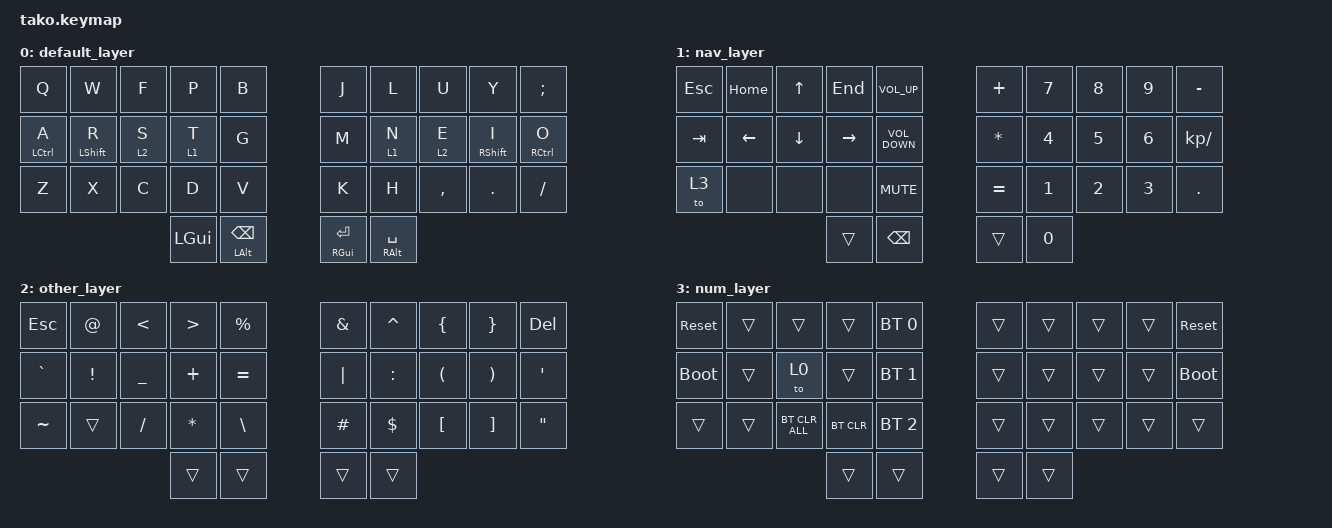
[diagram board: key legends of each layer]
/*
 * Copyright (c) 2020 The ZMK Contributors
 *
 * SPDX-License-Identifier: MIT
 */

#include <behaviors.dtsi>
#include <dt-bindings/zmk/bt.h>
#include <dt-bindings/zmk/keys.h>

// Using layer taps on thumbs, having quick tap as well helps w/ repeating space/backspace

&lt { quick_tap_ms = <200>; };

&mt {
   flavor = "tap-preferred";
   tapping_term_ms = <200>;
};

/ {
    behaviors {
        hm: homerow_mods {
            compatible = "zmk,behavior-hold-tap";
            label = "homerow mods";
            #binding-cells = <2>;
            flavor = "tap-preferred";
            tapping-term-ms = <180>;
            quick-tap-ms = <150>;
            global-quick-tap;
            bindings = <&kp>, <&kp>;
        };
    };

    // combos
    combos {
      compatible = "zmk,combos";
      // right hand
      combo_esc {
          timeout-ms = <50>;
          key-positions = <16 17>;
          bindings = <&kp ESC>;
      };

      combo_lgui {
          timeout-ms = <50>;
          key-positions = <5 6>;
          bindings = <&kp LGUI>;
      };

      combo_fullscreen {
          timeout-ms = <50>;
          key-positions = <25 26>;
          bindings = <&kp F11>;
      };

      combo_wkspc_up {
          timeout-ms = <50>;
          key-positions = <9 19>;
          bindings = <&kp LC(UP)>;
      };

      combo_wkspc_down {
          timeout-ms = <50>;
          key-positions = <19 29>;
          bindings = <&kp LC(DOWN)>;
      };

      combo_win_up {
          timeout-ms = <50>;
          key-positions = <7 8>;
          bindings = <&kp LS(LG(UP))>;
      };

      combo_win_down {
          timeout-ms = <50>;
          key-positions = <27 28>;
          bindings = <&kp LS(LG(DOWN))>;
      };

      combo_win_left {
          timeout-ms = <50>;
          key-positions = <17 18>;
          bindings = <&kp LS(LG(LEFT))>;
      };

      combo_win_right {
          timeout-ms = <50>;
          key-positions = <9 18>;
          bindings = <&kp LS(LG(RIGHT))>;
      };

      combo_rdelete {
          timeout-ms = <50>;
          key-positions = <15 16>;
          bindings = <&kp DELETE>;
      };

      // left hand
      combo_zoomin {
          timeout-ms = <50>;
          key-positions = <3 4>;
          bindings = <&kp LC(PLUS)>;
      };

      combo_zoomout {
          timeout-ms = <50>;
          key-positions = <23 24>;
          bindings = <&kp LC(MINUS)>;
      };

      combo_pgdn {
          timeout-ms = <50>;
          key-positions = <22 23>;
          bindings = <&kp PG_DN>;
      };

      combo_pgup {
          timeout-ms = <50>;
          key-positions = <2 3>;
          bindings = <&kp PG_UP>;
      };

      combo_ldelete {
          timeout-ms = <50>;
          key-positions = <13 14>;
          bindings = <&kp DELETE>;
      };

      // symbols
      combo_underscore {
          timeout-ms = <50>;
          key-positions = <11 12>;
          bindings = <&kp UNDERSCORE>;
      };

      combo_minus {
          timeout-ms = <50>;
          key-positions = <12 13>;
          bindings = <&kp MINUS>;
      };

      // others
      combo_capswd {
          timeout-ms = <50>;
          key-positions = <2 7>;
          bindings = <&caps_word>;
      };

    };

    // conditional_layers {
    //     compatible = "zmk,conditional-layers";
    //     tri_layer {
    //         if-layers = <1 2>;
    //         then-layer = <3>;
    //     };
    // };

    keymap {
        compatible = "zmk,keymap";

        default_layer {
            bindings = <
        //╭──────────┬──────────┬──────────┬──────────┬──────────╮   ╭──────────┬──────────┬──────────┬──────────┬──────────╮
        //│  Q       │  W       │  F       │  P       │  B       │   │  J       │  L       │  U       │  Y       │  ;       │
            &kp Q      &kp W      &kp F      &kp P      &kp B          &kp J      &kp L      &kp U      &kp Y      &kp SEMI
        //├──────────┼──────────┼──────────┼──────────┼──────────┤   ├──────────┼──────────┼──────────┼──────────┼──────────┤
        //│  A       │  R       │  S       │  T       │  G       │   │  M       │  N       │  E       │  I       │  O       │
            &hm LCTRL A &hm LSHFT R &lt 2 S  &lt 1 T    &kp G          &kp M      &lt 1 N    &lt 2 E  &hm RSHFT I &hm RCTRL O
        //├──────────┼──────────┼──────────┼──────────┼──────────┤   ├──────────┼──────────┼──────────┼──────────┼──────────┤
        //│  Z       │  X       │  C       │  D       │  V       │   │  K       │  H       │ , <      │ . >      │ / ?      │
            &kp Z      &kp X      &kp C      &kp D      &kp V          &kp K      &kp H      &kp COMMA  &kp DOT    &kp FSLH
        //╰──────────┴──────────┴──────────┼──────────┼──────────┤   ├──────────┼──────────┼──────────┴──────────┴──────────╯
                                            &kp LGUI   &mt LALT BSPC   &mt RGUI RET  &mt RALT SPACE
        //                                 ╰──────────┴──────────╯   ╰──────────┴──────────╯
            >;
        };

        nav_layer {
            bindings = <
        //╭──────────┬──────────┬──────────┬──────────┬──────────╮   ╭──────────┬──────────┬──────────┬──────────┬──────────╮
        //│ ESC      │ HOME     │  UP      │  END     │ V UP     │   │  +       │  7       │  8       │  9       │  -       │
            &kp ESC    &kp HOME    &kp UP     &kp END   &kp C_VOLUME_UP   &kp PLUS   &kp N7     &kp N8     &kp N9     &kp MINUS 
        //├──────────┼──────────┼──────────┼──────────┼──────────┤   ├──────────┼──────────┼──────────┼──────────┼──────────┤
        //│ TAP      │  LEFT    │  DOWN    │  RIGHT   │ V DOWN   │   │  *       │  4       │  5       │  6       │  /       │
            &kp TAB    &kp LEFT   &kp DOWN   &kp RIGHT  &kp C_VOLUME_DOWN  &kp ASTRK  &kp N4     &kp N5     &kp N6    &kp KP_DIVIDE
        //├──────────┼──────────┼──────────┼──────────┼──────────┤   ├──────────┼──────────┼──────────┼──────────┼──────────┤
        //│ Layer 3  │          |          │          │ V MUTE   │   │  =       │  1       │  2       │  3       │          │
            &to 3      &none      &none      &none      &kp C_MUTE      &kp EQUAL  &kp N1     &kp N2     &kp N3     &kp DOT
        //╰──────────┴──────────┴──────────┼──────────┼──────────┤   ├──────────┼──────────┼──────────┴──────────┴──────────╯
        //                                 │          │          │   │          │  0       │ 
                                             &trans     &kp BSPC       &trans      &kp N0
        //                                 ╰──────────┴──────────╯   ╰──────────┴──────────╯
            >;
        };

        other_layer {
            bindings = <
        //╭──────────┬──────────┬──────────┬──────────┬──────────╮   ╭──────────┬──────────┬──────────┬──────────┬──────────╮
        //│  ESC     │  @       │  <       │  >       │  %       │   │  &       │  ^       │  {       │  }       │          │
            &kp ESC    &kp AT     &kp LT     &kp GT     &kp PRCNT       &kp AMPS   &kp CARET  &kp LBRC   &kp RBRC   &kp DEL 
        //├──────────┼──────────┼──────────┼──────────┼──────────┤   ├──────────┼──────────┼──────────┼──────────┼──────────┤
        //│  `       │  !       │  _       │  +       │  =       │   │  *       │  :       │  (       │  )       │  '       │
           &kp GRAVE   &kp EXCL   &kp UNDER  &kp PLUS   &kp EQUAL      &kp PIPE   &kp COLON  &kp LPAR   &kp RPAR   &kp SQT 
        //├──────────┼──────────┼──────────┼──────────┼──────────┤   ├──────────┼──────────┼──────────┼──────────┼──────────┤
        //│  ~       │          │  /       │  *       │  \       │   │  &       │  $       │  [       │  ]       │  "       │
            &kp TILDE  &trans     &kp SLASH  &kp STAR   &kp BSLH       &kp HASH   &kp DLLR  &kp LBKT    &kp RBKT   &kp DQT
        //╰──────────┴──────────┴──────────┼──────────┼──────────┤   ├──────────┼──────────┼──────────┴──────────┴──────────╯
                                             &trans     &trans         &trans     &trans
        //                                 ╰──────────┴──────────╯   ╰──────────┴──────────╯
            >;
        };

        num_layer {
            bindings = <
        //╭──────────┬──────────┬──────────┬──────────┬──────────╮   ╭──────────┬──────────┬──────────┬──────────┬──────────╮
        //│ RESET    │          │          │          │PROFILE 0 │   │          │          │          │          │  RESET   │
           &sys_reset  &trans     &trans     &trans    &bt BT_SEL 0    &trans     &trans     &trans     &trans    &sys_reset
        //├──────────┼──────────┼──────────┼──────────┼──────────┤   ├──────────┼──────────┼──────────┼──────────┼──────────┤
        //│BOOTLOADER│          │          │          │PROFILE 1 │   │          │          │          │          │BOOTLOADER│
          &bootloader  &trans     &to 0      &trans    &bt BT_SEL 1    &trans     &trans     &trans     &trans    &bootloader
        //├──────────┼──────────┼──────────┼──────────┼──────────┤   ├──────────┼──────────┼──────────┼──────────┼──────────┤
        //│          │          │BT_CLR_ALL│ CLEAR BT │PROFILE 2 │   │          │          │          │          │          │
            &trans     &trans     &bt BT_CLR_ALL &bt BT_CLR &bt BT_SEL 2    &trans     &trans     &trans     &trans     &trans
        //╰──────────┴──────────┴──────────┼──────────┼──────────┤   ├──────────┼──────────┼──────────┴──────────┴──────────╯
                                             &trans     &trans         &trans     &trans
        //                                 ╰──────────┴──────────╯   ╰──────────┴──────────╯
            >;
        };
    };
};
